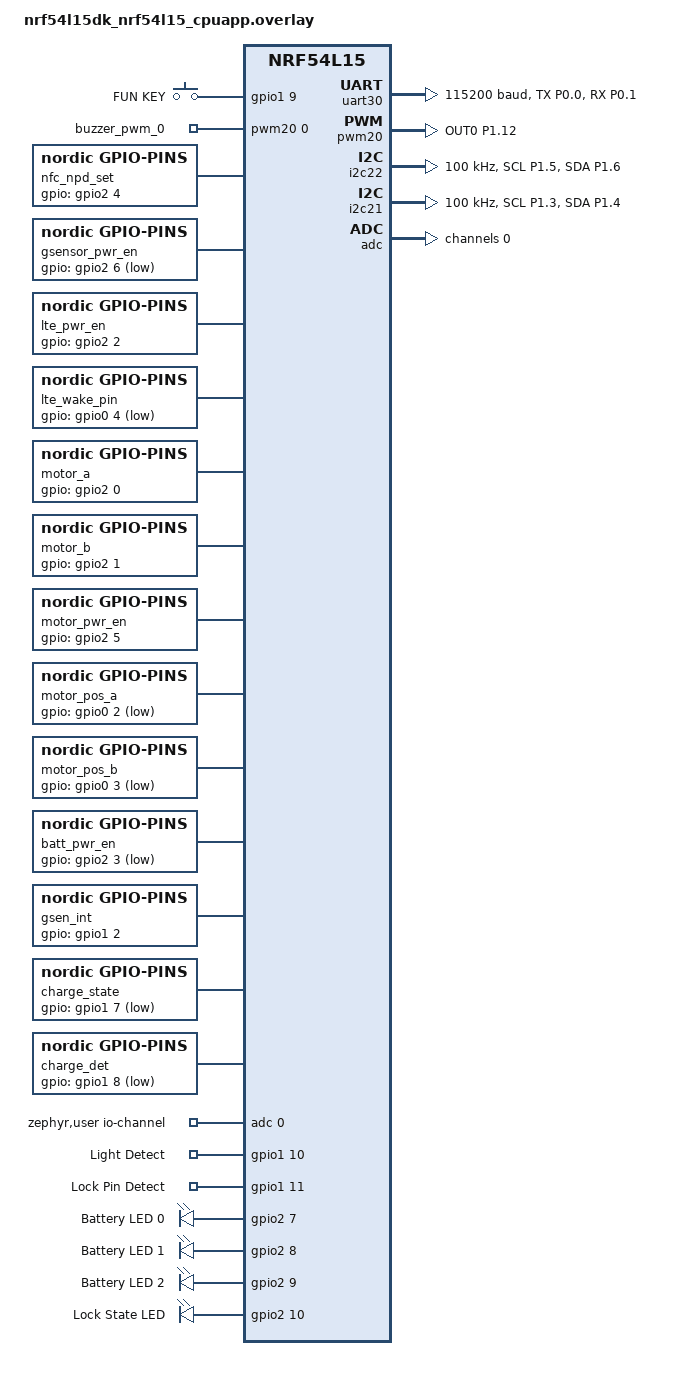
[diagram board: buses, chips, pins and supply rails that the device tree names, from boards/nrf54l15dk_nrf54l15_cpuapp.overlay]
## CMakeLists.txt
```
#
# Copyright (c) 2018 Nordic Semiconductor
#
# SPDX-License-Identifier: LicenseRef-Nordic-5-Clause
#
cmake_minimum_required(VERSION 3.20.0)

find_package(Zephyr REQUIRED HINTS $ENV{ZEPHYR_BASE})
project(LL311_BLE)

target_include_directories(app PRIVATE
 ./inc
 ./src
 ./ext_module/nfc/api
 ./ext_module/nfc/drivers/FM175XX/inc
)

# NORDIC SDK APP START
target_sources(app PRIVATE
  src/main.c
  src/my_ring_buf.c
  src/my_shell.c
  src/my_ble_core.c
  src/my_lte.c
  src/my_gsensor.c
  src/my_gsensor_algorithm.c
  src/my_nfc.c
  src/my_ctrl.c
  src/my_motor.c
  src/my_battery.c
#  src/my_wdt.c
  src/my_tool.c
  src/my_cmd_setting.c
  src/my_zms_param.c
  ext_module/nfc/api/nfc_api.c
  ext_module/nfc/drivers/FM175XX/src/fm175xx_driver.c
  ext_module/nfc/drivers/FM175XX/src/nfc_reader_api.c
  ext_module/nfc/drivers/FM175XX/src/nfc_mifare.c
  ext_module/nfc/drivers/FM175XX/src/nfc_ntag.c
  src/my_ble_app.c
  src/my_ble_log.c
  src/my_dfu_jimi.c
  src/my_pm.c
  src/my_ble_scan.c
)

# NORDIC SDK APP END
```

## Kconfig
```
#
# Copyright (c) 2018 Nordic Semiconductor
#
# SPDX-License-Identifier: LicenseRef-Nordic-5-Clause
#

source "Kconfig.zephyr"

menu "Nordic UART BLE GATT service sample"

config USE_STDC_LSM6DSV16X
	bool "LSM6DSV16X STdC driver"
	default y
	select HAS_STMEMSC

config BT_NUS_THREAD_STACK_SIZE
	int "Thread stack size"
	default 1024
	help
	  Stack size used in each of the two threads

config BT_NUS_UART_BUFFER_SIZE
	int "UART payload buffer element size"
	default 40
	help
	  Size of the payload buffer in each RX and TX FIFO element

config BT_NUS_SECURITY_ENABLED
	bool "Security"
	default y
	select BT_SMP
	help
	  Enable Bluetooth LE security for the UART service

config BT_NUS_UART_RX_WAIT_TIME
	int "Timeout for UART RX complete event"
	default 50000
	help
	  Wait for RX complete event time in microseconds

config SETTINGS
	default y

config ZMS
	default y if (SOC_FLASH_NRF_RRAM || SOC_FLASH_NRF_MRAM)

config NVS
	default y if !(SOC_FLASH_NRF_RRAM || SOC_FLASH_NRF_MRAM)

endmenu
```

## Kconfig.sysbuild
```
#
# Copyright (c) 2023 Nordic Semiconductor
#
# SPDX-License-Identifier: LicenseRef-Nordic-5-Clause
#

source "share/sysbuild/Kconfig"

config NRF_DEFAULT_IPC_RADIO
	default y

config NETCORE_IPC_RADIO_BT_HCI_IPC
	default y
```

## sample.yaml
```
sample:
  description: Bluetooth Low Energy UART service sample
  name: Bluetooth LE UART service
tests:
  sample.bluetooth.peripheral_uart:
    sysbuild: true
    platform_allow:
      - nrf52dk/nrf52832
      - nrf52833dk/nrf52833
      - nrf52840dk/nrf52840
      - nrf5340dk/nrf5340/cpuapp
      - nrf5340dk/nrf5340/cpuapp/ns
      - thingy53/nrf5340/cpuapp
      - nrf21540dk/nrf52840
      - nrf54l15dk/nrf54l05/cpuapp
      - nrf54l15dk/nrf54l10/cpuapp
      - nrf54l15dk/nrf54l15/cpuapp
      - nrf54lm20dk/nrf54lm20a/cpuapp
      - nrf54lv10dk/nrf54lv10a/cpuapp
      - nrf54lv10dk/nrf54lv10a/cpuapp/ns
      - nrf54h20dk/nrf54h20/cpuapp
      - nrf54h20dk/nrf54h20/cpurad
    integration_platforms:
      - nrf52dk/nrf52832
      - nrf52833dk/nrf52833
      - nrf52840dk/nrf52840
      - nrf5340dk/nrf5340/cpuapp
      - nrf5340dk/nrf5340/cpuapp/ns
      - thingy53/nrf5340/cpuapp
      - nrf21540dk/nrf52840
      - nrf54l15dk/nrf54l05/cpuapp
      - nrf54l15dk/nrf54l10/cpuapp
      - nrf54l15dk/nrf54l15/cpuapp
      - nrf54lm20dk/nrf54lm20a/cpuapp
      - nrf54lv10dk/nrf54lv10a/cpuapp
      - nrf54h20dk/nrf54h20/cpuapp
      - nrf54h20dk/nrf54h20/cpurad
    tags:
      - bluetooth
      - ci_build
      - sysbuild
    harness: console
    harness_config:
      type: multi_line
      ordered: true
      regex:
        - "Starting Nordic UART service sample"
    timeout: 15
  sample.bluetooth.peripheral_uart_cdc:
    sysbuild: true
    build_only: true
    extra_args:
      - OVERLAY_CONFIG=prj_cdc.conf
      - DTC_OVERLAY_FILE="usb.overlay"
    integration_platforms:
      - nrf52840dk/nrf52840
      - nrf52833dk/nrf52833
    platform_allow:
      - nrf52840dk/nrf52840
      - nrf52833dk/nrf52833
    tags:
      - bluetooth
      - ci_build
      - sysbuild
  sample.bluetooth.peripheral_uart_minimal:
    sysbuild: true
    build_only: true
    extra_args: FILE_SUFFIX=minimal
    integration_platforms:
      - nrf52833dk/nrf52820
    platform_allow:
      - nrf52833dk/nrf52820
    tags:
      - bluetooth
      - ci_build
      - sysbuild
  sample.bluetooth.peripheral_uart_ble_rpc:
    sysbuild: true
    build_only: true
    extra_args:
      - SNIPPET=nordic-bt-rpc
      - FILE_SUFFIX=bt_rpc
    integration_platforms:
      - nrf5340dk/nrf5340/cpuapp
      - nrf54h20dk/nrf54h20/cpuapp
    platform_allow:
      - nrf5340dk/nrf5340/cpuapp
      - nrf54h20dk/nrf54h20/cpuapp
    tags:
      - bluetooth
      - ci_build
      - sysbuild
  sample.bluetooth.peripheral_uart.security_disabled:
    sysbuild: true
    build_only: true
    platform_allow:
      - nrf52dk/nrf52832
      - nrf52833dk/nrf52833
      - nrf52840dk/nrf52840
      - nrf5340dk/nrf5340/cpuapp
      - nrf5340dk/nrf5340/cpuapp/ns
      - thingy53/nrf5340/cpuapp
      - thingy53/nrf5340/cpuapp/ns
      - nrf21540dk/nrf52840
    integration_platforms:
      - nrf52840dk/nrf52840
    tags:
      - bluetooth
      - ci_build
      - sysbuild
    extra_configs:
      - CONFIG_BT_NUS_SECURITY_ENABLED=n
```

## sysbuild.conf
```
#
# Copyright (c) 2021 Nordic Semiconductor ASA
#
# SPDX-License-Identifier: LicenseRef-Nordic-5-Clause
#

# Enable MCUboot as bootloader (recommended way)
SB_CONFIG_BOOTLOADER_MCUBOOT=y
```

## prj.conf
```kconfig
#
# Copyright (c) 2018 Nordic Semiconductor
#
# SPDX-License-Identifier: LicenseRef-Nordic-5-Clause
#

# Enable the UART driver
CONFIG_UART_ASYNC_API=y
CONFIG_NRFX_UARTE=y
CONFIG_SERIAL=y

# Enable the GPIO driver
CONFIG_GPIO=y

# Enable I2C driver
CONFIG_I2C=y

# Enable PWM driver
CONFIG_PWM=y

# Make sure printk is printing to the RTT console
CONFIG_CONSOLE=y
CONFIG_UART_CONSOLE=n
CONFIG_RTT_CONSOLE=y

# Enable Shell
CONFIG_SHELL=y
CONFIG_SHELL_BACKEND_RTT=y
CONFIG_SHELL_BACKEND_SERIAL=n
CONFIG_SHELL_VT100_COMMANDS=y
CONFIG_SHELL_HISTORY=y

# Increase RTT buffer size to prevent message drops
CONFIG_SEGGER_RTT_BUFFER_SIZE_UP=4096
CONFIG_LOG_BUFFER_SIZE=4096

# Heap and stacks
CONFIG_HEAP_MEM_POOL_SIZE=16384
CONFIG_MAIN_STACK_SIZE=2048
CONFIG_SYSTEM_WORKQUEUE_STACK_SIZE=2048

# Bluetooth RX workqueue stack size (default 1200 is insufficient for BLE log, increased to 2048)
CONFIG_BT_RX_STACK_SIZE=2048

# Enable Bluetooth
CONFIG_BT=y
CONFIG_BT_PERIPHERAL=y
CONFIG_BT_DEVICE_NAME="LL311"
CONFIG_BT_DEVICE_APPEARANCE=512
CONFIG_BT_MAX_CONN=2
CONFIG_BT_MAX_PAIRED=1

# Enable Bluetooth Observer role for TAG scanning
CONFIG_BT_OBSERVER=y
CONFIG_BT_SCAN=y

# Enable extended advertising for multiple advertising sets
CONFIG_BT_EXT_ADV=y
CONFIG_BT_EXT_ADV_MAX_ADV_SET=3

CONFIG_BT_CTLR_TX_PWR_DYNAMIC_CONTROL=y

# Enable the Device Information Service
# CONFIG_BT_DIS=y
# CONFIG_BT_DIS_MANUF_NAME=y
# CONFIG_BT_DIS_MANUF_NAME_STR="Nordic Semiconductor ASA"
# CONFIG_BT_DIS_PNP=y
# CONFIG_BT_DIS_PNP_VID_SRC=2
# CONFIG_BT_DIS_PNP_VID=0x1915
# CONFIG_BT_DIS_PNP_PID=0xEEF1
# CONFIG_BT_DIS_PNP_VER=0x0100

# Disable NUS service
CONFIG_BT_NUS=n
# CONFIG_BT_NUS_THREAD_STACK_SIZE is no longer needed

# Enable bonding
CONFIG_BT_SETTINGS=y
CONFIG_FLASH=y
CONFIG_FLASH_PAGE_LAYOUT=y
CONFIG_FLASH_MAP=y
CONFIG_STREAM_FLASH=y
CONFIG_PARTITION_MANAGER_ENABLED=y

# Enable DK LED and Buttons library
CONFIG_DK_LIBRARY=n

# Disable SPI NOR Flash
CONFIG_SPI_NOR=n
CONFIG_NORDIC_QSPI_NOR=n

# Enable Power Management
CONFIG_PM=y
CONFIG_PM_DEVICE=y
CONFIG_PM_DEVICE_RUNTIME=y

# Disable unused RAM blocks to reduce standby current
CONFIG_RAM_POWER_DOWN_LIBRARY=y

# Config logger
CONFIG_LOG=y
CONFIG_LOG_DEFAULT_LEVEL=3
CONFIG_USE_SEGGER_RTT=y
CONFIG_LOG_BACKEND_RTT=n
CONFIG_LOG_BACKEND_UART=n
CONFIG_LOG_PRINTK=n
CONFIG_LOG_CUSTOM_FORMAT_SUPPORT=y
CONFIG_LOG_OUTPUT_FORMAT_CUSTOM_TIMESTAMP=y
CONFIG_LOG_BACKEND_FORMAT_TIMESTAMP=y


# Enable assertions
CONFIG_ASSERT=y

# Enable power management
CONFIG_PM=y
CONFIG_PM_DEVICE=y

# Enable Watchdog
# CONFIG_WATCHDOG=y

# Enable reboot
CONFIG_REBOOT=y

# Enable ADC
CONFIG_ADC=y
CONFIG_ADC_NRFX_SAADC=y

# ST MEMSC HAL
CONFIG_USE_STDC_LSM6DSV16X=y

# Enable poweroff
CONFIG_POWEROFF=y

# nRF Security + PSA Crypto
CONFIG_NRF_SECURITY=y

# AES ECB
CONFIG_PSA_WANT_KEY_TYPE_AES=y
CONFIG_PSA_WANT_ALG_ECB_NO_PADDING=y

# Enable MCUManager and BT OTA DFU
CONFIG_NCS_SAMPLE_MCUMGR_BT_OTA_DFU=y

# Enable Bluetooth OTA DFU support, no authentication required
CONFIG_MCUMGR_TRANSPORT_BT_PERM_RW=y

# MCUmgr notification hooks for OTA status monitoring
CONFIG_MCUMGR_MGMT_NOTIFICATION_HOOKS=y
CONFIG_MCUMGR_SMP_COMMAND_STATUS_HOOKS=y
CONFIG_MCUMGR_GRP_IMG_UPLOAD_CHECK_HOOK=y

# Enable Bluetooth SMP (Security Manager Protocol)
CONFIG_BT_SMP=y

# Enable Secure Connections pairing (for Passkey Entry)
CONFIG_BT_SMP_SC_PAIR_ONLY=n

# Enable larger ACL buffers for DFU (MTU 498 + 4 bytes L2CAP header)
# Supports dual-PDU mode: max data length = 251 * 2 = 502
CONFIG_BT_L2CAP_TX_MTU=498
CONFIG_BT_BUF_ACL_RX_SIZE=502
CONFIG_BT_BUF_ACL_TX_SIZE=502
CONFIG_BT_CTLR_DATA_LENGTH_MAX=251

CONFIG_CBPRINTF_FP_SUPPORT=y
```

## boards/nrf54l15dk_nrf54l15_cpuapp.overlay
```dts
/*
 * Copyright (c) 2024 Nordic Semiconductor ASA
 *
 * SPDX-License-Identifier: LicenseRef-Nordic-5-Clause
 */

#include <zephyr/dt-bindings/gpio/gpio.h>
#include <zephyr/dt-bindings/i2c/i2c.h>
#include <zephyr/dt-bindings/pinctrl/nrf-pinctrl.h>

/ {
	chosen {
	};

	/* 定义别名，方便代码调用 */
	aliases {
		/* 删除板级alias别名 */
		/delete-property/ led0;
		/delete-property/ led1;
		/delete-property/ led2;
		/delete-property/ led3;
		/delete-property/ pwm-led0;
		/delete-property/ sw0;
		/delete-property/ sw1;
		/delete-property/ sw2;
		/delete-property/ sw3;
		/delete-property/ mcuboot-button0;
		/delete-property/ mcuboot-led0;
		lte-uart = &uart30;
		lte-pwr-ctrl = &lte_pwr_en;
		lte-wake-ctrl = &lte_wake_pin;
		gsensor-i2c = &i2c21;
		gsensor-pwr-ctrl = &gsensor_pwr_en;
		nfc-i2c = &i2c22;
		nfc-npd-ctrl = &nfc_npd_set;
		buzzer-pwm = &buzzer_pwm_0;
		fun-key = &fun_key_pin;
		motor-ctrl-a = &motor_a;
		motor-ctrl-b = &motor_b;
		motor-pwr-ctrl = &motor_pwr_en;
		motor-posdet-a = &motor_pos_a;
		motor-posdet-b = &motor_pos_b;
		batt-pwr-ctrl = &batt_pwr_en;
		gsensor-int = &gsen_int;
		batt-state = &charge_state;
		charge-detect = &charge_det;
		light-detect = &light_det_pin;
		lock-pin-det = &lock_pin_det_pin;
		battery-led0 = &batt_led0;
		battery-led1 = &batt_led1;
		battery-led2 = &batt_led2;
		lock-led0  = &lock_led;
	};
	/* 删除板级节点 */
	/delete-node/ leds;
	/delete-node/ buttons;
	/delete-node/ pwmleds;

	/* 定义按键 - 使用 gpio-keys 兼容类型 */
	button_fun: button_fun {
		compatible = "gpio-keys";
		fun_key_pin: fun_key_pin {
			gpios = <&gpio1 9 (GPIO_PULL_DOWN | GPIO_ACTIVE_HIGH)>;
			label = "FUN KEY";
		};
	};

	/* 定义蜂鸣器 PWM 节点 */
	buzzer_node {
		compatible = "pwm-leds";
		buzzer_pwm_0: buzzer_pwm_0 {
			/* 蜂鸣器设置2.7KHz */
			pwms = <&pwm20 0 PWM_HZ(2700) PWM_POLARITY_NORMAL>;
		};
	};

	/* NFC NPD 低功耗控制引脚配置:P2.04 */
	nfc_npd_set: nfc-npd-set {
		compatible = "nordic,gpio-pins";
		gpios = <&gpio2 4 GPIO_ACTIVE_HIGH>;
		status = "okay";
	};

	/* G-Sensor 电源控制引脚配置,低电平有效,适配硬件设计 */
	gsensor_pwr_en: gsensor-pwr-en {
		compatible = "nordic,gpio-pins";
		gpios = <&gpio2 6 GPIO_ACTIVE_LOW>;
		status = "okay";
	};

	/* LTE 电源控制引脚配置 */
	lte_pwr_en: lte-pwr-en {
		compatible = "nordic,gpio-pins";
		gpios = <&gpio2 2 GPIO_ACTIVE_HIGH>;
		status = "okay";
	};

	/* LTE 唤醒引脚配置：P0.04，外部上拉，4G拉低唤醒Nordic */
	lte_wake_pin: lte-wake-pin {
		compatible = "nordic,gpio-pins";
		gpios = <&gpio0 4 GPIO_ACTIVE_LOW>;
		status = "okay";
	};

	/* P2.0: 马达方向 A */
	motor_a: motor-a {
		compatible = "nordic,gpio-pins";
		gpios = <&gpio2 0 GPIO_ACTIVE_HIGH>;
		status = "okay";
	};

	/* P2.1: 马达方向 B */
	motor_b: motor-b {
		compatible = "nordic,gpio-pins";
		gpios = <&gpio2 1 GPIO_ACTIVE_HIGH>;
		status = "okay";
	};

	/* P2.5: 马达电源开关，高电平上电 */
	 motor_pwr_en: motor-pwr-en {
		compatible = "nordic,gpio-pins";
		gpios = <&gpio2 5 GPIO_ACTIVE_HIGH>;
		status = "okay";
	};

	/* P0.2: 位置检测 A，外部上拉 */
	motor_pos_a: motor-pos-a {
		compatible = "nordic,gpio-pins";
		gpios = <&gpio0 2 (GPIO_ACTIVE_LOW)>;
		status = "okay";
	};

	/* P0.3: 位置检测 B，外部上拉 */
	motor_pos_b: motor-pos-b {
		compatible = "nordic,gpio-pins";
		gpios = <&gpio0 3 (GPIO_ACTIVE_LOW)>;
		status = "okay";
	};

	/* P2.3: 电池使能，低电平使能 */
	batt_pwr_en: batt-pwr-en {
		compatible = "nordic,gpio-pins";
		gpios = <&gpio2 3 GPIO_ACTIVE_LOW>;
		status = "okay";
	};

	/* gsensor中断，默认下拉 */
	gsen_int: gsen-int {
		compatible = "nordic,gpio-pins";
		gpios = <&gpio1 2 (GPIO_PULL_DOWN | GPIO_ACTIVE_HIGH)>;
		status = "okay";
	};

	/* P1.7:电池状态监测； 充电中:低电平; 充满:高电平 */
	charge_state: charge-state {
		compatible = "nordic,gpio-pins";
		gpios = <&gpio1 7 (GPIO_PULL_UP | GPIO_ACTIVE_LOW)>;
		status = "okay";
	};

	/* P1.8: 是否在充电的检测,外部上拉 */
	charge_det: charge-det {
		compatible = "nordic,gpio-pins";
		gpios = <&gpio1 8 (GPIO_ACTIVE_LOW)>;
		status = "okay";
	};

	/* 把要用的 ADC 通道挂到 zephyr,user，方便 C 代码用 ADC_DT_SPEC_GET(DT_PATH(zephyr_user)) */
	zephyr,user {
		/* 通道 0：电池电压（P1.13 / AIN6）*/
		io-channels = <&adc 0>;
	};

	/* 光感检测：P1.10，外部1M下拉，有光高电平，无光低电平 */
	light_det: light-det {
		compatible = "gpio-keys";
		light_det_pin: light_det_pin {
			gpios = <&gpio1 10 GPIO_ACTIVE_HIGH>;
			label = "Light Detect";
		};
	};

	/* 锁销检测：P1.11，外部1M下拉，锁销断开时低电平，插入后接3.3V变为高电平 */
	lock_pin_det: lock-pin-det {
		compatible = "gpio-keys";
		lock_pin_det_pin: lock_pin_det_pin {
			gpios = <&gpio1 11 GPIO_ACTIVE_HIGH>;
			label = "Lock Pin Detect";
		};
	};

	/* 电量指示灯组：P2.7 / P2.8 / P2.9 */
	batt_leds: batt-leds {
		compatible = "gpio-leds";

		batt_led0: batt_led_0 {
			gpios = <&gpio2 7 GPIO_ACTIVE_HIGH>;
			label = "Battery LED 0";  /* 最低电量格 */
		};

		batt_led1: batt_led_1 {
			gpios = <&gpio2 8 GPIO_ACTIVE_HIGH>;
			label = "Battery LED 1";
		};

		batt_led2: batt_led_2 {
			gpios = <&gpio2 9 GPIO_ACTIVE_HIGH>;
			label = "Battery LED 2";  /* 最高电量格 */
		};
	};

	/* 锁状态指示灯：P2.10 */
	lock_leds: lock-leds {
		compatible = "gpio-leds";

		lock_led: lock-led {
			gpios = <&gpio2 10 GPIO_ACTIVE_HIGH>;
			label = "Lock State LED";
		};
	};
};

/* 配置 NFC 使用的引脚做为IO口 */
&uicr {
	nfct-pins-as-gpios;
};

&uart20 {
	status = "disabled";
};

/* 配置 LTE 模块使用的串口引脚 P2.00, P2.01 */
&pinctrl {
	i2c21_default: i2c21_default {
		group1 {
			psels = <NRF_PSEL(TWIM_SCL, 1, 3)>,
				<NRF_PSEL(TWIM_SDA, 1, 4)>;
		};
	};

	i2c21_sleep: i2c21_sleep {
		group1 {
			psels = <NRF_PSEL(TWIM_SCL, 1, 3)>,
				<NRF_PSEL(TWIM_SDA, 1, 4)>;
			low-power-enable;
		};
	};

	i2c22_default: i2c22_default {
		group1 {
			psels = <NRF_PSEL(TWIM_SCL, 1, 5)>,
				<NRF_PSEL(TWIM_SDA, 1, 6)>;
		};
	};

	i2c22_sleep: i2c22_sleep {
		group1 {
			psels = <NRF_PSEL(TWIM_SCL, 1, 5)>,
				<NRF_PSEL(TWIM_SDA, 1, 6)>;
			low-power-enable;
		};
	};

	lte_uart30_default: lte_uart30_default {
		group1 {
			/* TX 为输出，无需偏置 */
			psels = <NRF_PSEL(UART_TX, 0, 0)>;
		};
		group2 {
			/* RX 为输入，default 状态配置上拉 */
			psels = <NRF_PSEL(UART_RX, 0, 1)>;
			bias-pull-up;
		};
	};

	lte_uart30_sleep: lte_uart30_sleep {
		group1 {
			/* sleep 状态配置低功耗模式(高阻态) */
			psels = <NRF_PSEL(UART_TX, 0, 0)>,
					<NRF_PSEL(UART_RX, 0, 1)>;
			low-power-enable;
		};
	};

	pwm20_default: pwm20_default {
		group1 {
			psels = <NRF_PSEL(PWM_OUT0, 1, 12)>;
			nordic,drive-mode = <NRF_DRIVE_H0H1>;
		};
	};

	pwm20_sleep: pwm20_sleep {
		group1 {
			psels = <NRF_PSEL(PWM_OUT0, 1, 12)>;
			low-power-enable;
		};
	};
};

/* 开启并配置 UART30 */
&uart30 {
	status = "okay";
	current-speed = <115200>;
	pinctrl-0 = <&lte_uart30_default>;
	pinctrl-1 = <&lte_uart30_sleep>;
	pinctrl-names = "default", "sleep";
};

/* 开启并配置 PWM 用于蜂鸣器 */
&pwm20 {
	status = "okay";
	pinctrl-0 = <&pwm20_default>;
	pinctrl-1 = <&pwm20_sleep>;
	pinctrl-names = "default", "sleep";
};

/* 开启并配置 I2C22 用于 NFC */
&i2c22 {
	status = "okay";
	pinctrl-0 = <&i2c22_default>;
	pinctrl-1 = <&i2c22_sleep>;
	pinctrl-names = "default", "sleep";
	clock-frequency = <I2C_BITRATE_STANDARD>;
};


&i2c21 {
	status = "okay";
	pinctrl-0 = <&i2c21_default>;
	pinctrl-1 = <&i2c21_sleep>;
	pinctrl-names = "default", "sleep";
	clock-frequency = <I2C_BITRATE_STANDARD>;
};

/* ADC 配置：通道 0 = AIN6(P1.13)，通道 1 = AIN7(P1.14) */
&adc {
	#address-cells = <1>;
	#size-cells = <0>;
	status = "okay";

	/* 通道 0：电池电压采集，AIN6 = P1.13 */
	channel@0 {
		reg = <0>;
		zephyr,gain = "ADC_GAIN_1_4";          /* nRF54L15 推荐 1/4 增益 */
		zephyr,reference = "ADC_REF_INTERNAL"; /* 内部参考 */
		zephyr,acquisition-time = <ADC_ACQ_TIME_DEFAULT>;
		zephyr,input-positive = <NRF_SAADC_AIN6>;  /* AIN6 = P1.13 */
		zephyr,resolution = <14>;                  /* nRF54L15 为 14 bit */
	};
};

/* disable spi nor flash */
&spi00 {
	status = "disabled";
};

/* Disable MX25R64 SPI NOR Flash */
&mx25r64 {
    status = "disabled";
};

/* 用于P0.4唤醒 */
&gpio0 {
	// wakeup-source;
	sense-edge-mask = <(BIT(4) | BIT(2) | BIT(3))>;  /* P0.4、P0.2 和 P0.3 */
};

/* 新增：为 gpio1 启用 sense 机制，降低功耗 */
&gpio1 {
	status = "okay";
	sense-edge-mask = <(BIT(2) | BIT(7) | BIT(8) | BIT(9) | BIT(10) | BIT(11))>;  /* P1.2、P1.7 和 P1.8 */
};

/*
&wdt31 {
	status = "okay";
};
*/
```

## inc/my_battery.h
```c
/********************************************************************
**版权所有         深圳市几米物联有限公司
**文件名称:        my_battery.h
**文件描述:        电池管理模块实现头文件
**当前版本:        V1.0
**作    者:        周森达 (zhousenda@jimiiot.com)
**完成日期:        2026.02.04
*********************************************************************/

#ifndef _MY_BATTERY_H_
#define _MY_BATTERY_H_

// 电池状态枚举, 定义了电池的不同状态等级，从空到满
typedef enum
{
    BATT_UNKNOWN = -1,  /* 电池状态未知状态 */
    BATT_EMPTY,         /* 电池电量为空 */
    BATT_LOW,           /* 电池电量低 */
    BATT_NORMAL,        /* 电池电量正常 */
    BATT_FAIR,          /* 电池电量良好 */
    BATT_HIGH,          /* 电池电量高 */
    BATT_FULL,          /* 电池电量满 */
} my_batt_state_t;

// 正常状态 LED 控制结构体, 用于控制电池状态 LED 显示的结构体
typedef struct
{
    struct k_timer *timer;       /* 定时器指针，用于控制 LED 显示的定时 */
    my_batt_state_t state;            /* 当前电池状态，使用枚举类型 */
    uint8_t time_count;          /* 时间计数器，用于控制 LED 闪烁和显示持续时间, 按键按下, LED 执行5s, 定时器设置为100ms , 50次*/
} batt_led_ctrl_t;

// 电源状态枚举, 定义了设备的电源连接状态
typedef enum
{
    CHARG_UNKNOWN = -1,     /* 充电状态未知状态 */
    NO_CHARGING,            /* 充电器未连接 */
    CHARGING,               /* 充电器已连接（充电中） */
    CHARG_FULL,             /* 充电器已连接且电池已充满 */
} my_chg_state_t;

typedef enum
{
    CHG_BATT_LOW,    /* 充电状态电池电量低 */
    CHG_BATT_FAIR,   /* 充电状态电池电量良好 */
    CHG_BATT_HIGH,   /* 充电状态电池电量高 */
    CHG_BATT_FULL,   /* 充电状态电池电量满，电池已充满 */
} my_chg_batt_state_t;

// 充电状态 LED 控制结构体, 用于控制电池状态 LED 显示的结构体
typedef struct
{
    struct k_timer *timer;       /* 定时器指针，用于控制 LED 显示的定时 */
    my_chg_batt_state_t state;            /* 当前电池状态，使用枚举类型 */
    uint16_t time_count;          /* 时间计数器，用于控制 LED 闪烁和显示持续时间以及固定时间(10s)检测更新充电状态,定时器500ms循环*/
} chg_led_ctrl_t;

//电池电压-电量映射结构体,用于存储电池电压值与对应电量百分比的映射关系,用于通过电池电压计算电量百分比.
typedef struct
{
    int32_t mv;       /**< 电池电压值，单位为毫伏 (mV) */
    int8_t percent;   /**< 对应的电池电量百分比，范围为 0-100 */
} batt_volt_percent_map_t;

// 正常状态LED控制结构体，包含定时器、电池状态和计数器
extern batt_led_ctrl_t g_batt_led_ctrl;

// 充电状态LED控制结构体，包含定时器、充电电池状态和计数器
extern chg_led_ctrl_t g_chg_led_ctrl;

// 电源状态，初始值为未连接
extern my_chg_state_t g_charg_state;

int batt_read_mv(int32_t *mv);
int ntc_read_raw(int16_t *raw);
int batt_adc_init(void);
void batt_enable(bool on);
int batt_gpio_init(void);

/*********************************************************************
**函数名称:  show_battary
**入口参数:  无
**出口参数:  无
**函数功能:  显示电池状态
**返 回 值:  无
*********************************************************************/
void my_battery_show(void);

/*********************************************************************
**函数名称:  my_battery_update_state
**入口参数:  无
**出口参数:  无
**函数功能:  检查并更新电池状态
*********************************************************************/
void my_battery_update_state(void);

/*********************************************************************
**函数名称:  my_battery_show_chgled
**入口参数:  无
**出口参数:  无
**函数功能:  检查充电检测引脚的状态，根据检测结果更新充电状态并控制LED显示。
** 如果检测到充电，则启动充电LED控制定时器；如果未检测到充电，则关闭所有电池LED。
*********************************************************************/
void my_battery_show_chgled();

/*********************************************************************
**函数名称:  my_battery_read_mv
**入口参数:  *mv  --  指向存储电池电压值的指针，单位为毫伏
**出口参数:  err  --  错误码，0 表示成功，非 0 表示失败
**函数功能:  读取电池电压值（毫伏）,函数采用多次采样并去除极值的方法提高测量准确性,
**           最终结果会乘以 2，是因为硬件电路中的分压系数
*********************************************************************/
int my_battery_read_mv(int32_t *mv);

/*********************************************************************
**函数名称:  my_battery_pm_register
**入口参数:  无
**出口参数:  无
**函数功能:  将 Battery 模块注册到统一 PM 框架
**返 回 值:  0 表示成功，负值表示失败
*********************************************************************/
int my_battery_pm_register(void);

/*********************************************************************
**函数名称:  get_show_percent
**入口参数:  无
**出口参数:  电池电量百分比
**函数功能:  获取当前电池电量百分比
*********************************************************************/
int8_t get_show_percent(void);

#endif
```

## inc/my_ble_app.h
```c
/********************************************************************
**版权所有         深圳市几米物联有限公司
**文件名称:        my_ble_app.h
**文件描述:        设备蓝牙交互模块实现头文件
**当前版本:        V1.0
**作    者:        周森达 (zhousenda@jimiiot.com)
**完成日期:        2026-03-05
*********************************************************************
** 功能描述:        1. 提供交互协议相关宏定义
**                 2. 为外部提供数据接收和解析相关接口
** 协议文档:        Jimi Iot 蓝牙通信协议V3.1.6_2026-3-5
** OTA 效率优化:    为提升 OTA 传输效率，采用双 PDU 模式，MTU 扩大至 498 字节
**                 （默认 MTU 247 仅支持单 PDU，498 支持双 PDU，理论吞吐提升约 2 倍）
** 配置位置:        prj.conf 中 CONFIG_BT_L2CAP_TX_MTU=498 和 CONFIG_BT_BUF_ACL_RX_SIZE=502
*********************************************************************/
#ifndef _MY_BLE_APP_H_
#define _MY_BLE_APP_H_

// 交互协议相关宏定义
#define BLE_DATA_FRAME_LEN_MAX                  16

#define BLE_DATA_PACKET_HEAD                    0X4254          //数据包头
#define BLE_DATA_TYPE_PKEY                      0x1101          //公钥数据
#define BLE_DATA_TYPE_CID                       0x2202          //串号数据
#define BLE_DATA_TYPE_MTU_LEN                   0x2203          //MTU交换数据
#define BLE_DATA_TYPE_HID_VALID                 0x2303          //HID有效期
#define BLE_DATA_TYPE_ALARM                     0x3303          //防盗器指令数据
#define BLE_DATA_TYPE_QUERY                     0x3304          //查询仪表数据及应答
#define BLE_DATA_TYPE_REPORT                    0x3305          //仪表数据上行汇报及应答
#define BLE_DATA_TYPE_CMD                       0x5505          //其它指令数据
#define BLE_DATA_TYPE_FILE_TRANS                0x4605          //DFU文件指令,参考Jimi Iot 蓝牙通信协议V3.1.6_2026-3-5 6.4 OTA文件传输
#define BLE_DATA_TYPE_QEURY_VER                 0x5601          //app下行查询版本号
#define BLE_DATA_TYPE_RSP_VER1                  0x5602          //设备类型
#define BLE_DATA_TYPE_RSP_VER2                  0x5603          //设备版本号

#define BLE_DATA_TYPE_SET_ADV                   0x5606          //设置广播名称
#define BLE_DATA_TYPE_SET_IMEI                  0x5707          //设置IMEI号
#define BLE_DATA_TYPE_AT_CMD                    0x5808          //用户指令

/* 单模块回复传输（0xFF 0x01 / 0xFF 0x02）
 * 用于大数据量返回，如NFCTRIG CHECK返回结果
 * 1. 可单包发送时走 FF01：payload 格式为 len(Varint, 0-512) + Module id(Varint,固定0x08) + Module len(Varint) + data
 *    APP 回复解密后 payload 固定为 0x00
 * 2. 需分包发送时走 FF02：payload 格式为 Len(Varint, 0-512) + Seq(1B) + [首包附带 Module id + Module len] + data
 *    APP 回复格式为 52 54 FF 02，解密后 payload 为 len(Varint) + 包序号
 */
#define BLE_DATA_TYPE_PACKET_SINGLE             0xFF01          //单包传输数据类型
#define BLE_DATA_TYPE_PACKET_MULTIPLE           0xFF02          //分包传输数据类型

#define BLE_PACKET_TRANS_MODULE_ID              0x08            //模块ID(RSP_ASCII)
#define BLE_PACKET_TRANS_SEQ_LAST               0xFF            //最后一包序号标记

/* 日志指令透传数据（LOG_DATA）
 * 指令格式：
 * +--------+--------+--------+--------+
 * |  字节  |   0~1  |   2~3  |  4~N   |
 * +--------+--------+--------+--------+
 * |  字段  |  head  |  cmd   |  data  |
 * +--------+--------+--------+--------+
 * |  值    | 0x4254 | 0x5901 |  日志  |
 * +--------+--------+--------+--------+
 * 说明：
 *   - head (2B): 帧头 0x4254 ("BT")
 *   - cmd  (2B): 指令类型 0x5901 (LOG_DATA)
 *   - data (NB): 透传日志内容，明文传输，无需16字节对齐，测试发现小于16字节的需要填充0，补足16字节
 *   - 长度计算: MTU - BLE_LOG_MTU_OVERHEAD
 *   - MTU开销: ATT头(3B) + head(2B) + cmd(2B) = 7B
 */
#define BLE_DATA_TYPE_BT_LOG                    0x5901          //日志指令透传数据（LOG_DATA）
/* 日志数据MTU开销：ATT头(3B) + head(2B) + cmd(2B) */
#define BLE_LOG_MTU_OVERHEAD                    7

/* 蓝牙日志单包最大内容长度
 * 原因：测试发现超过240字节会导致蓝牙自动断开
 * 注意：此限制与MTU无关，是协议栈稳定性要求
 */
#define BLE_LOG_MAX_CHUNK_SIZE                  240

#define BLE_DFU_HEAD1                           0x78            // DFU包头1
#define BLE_DFU_HEAD2                           0x79            // DFU包头2

#define BLE_COMU_DEV_CODE                       0xB3            // 设备码
#define BLE_COMU_APP_CODE                       0xC2            // 应用码
#define BLE_COMU_CMD_START                      0x89            // 命令码
#define BLE_COMU_ALARM_START                    0x78            // 告警码

#define BLE_PKEY_RX_CMD                         0x8900C200      // 公钥接收命令
#define BLE_PKEY_RSP_DATA1                      0x00            // 公钥接收响应数据1
#define BLE_PKEY_RSP_DATA3                      0x00

/* APP下行控制指令    */
#define BLE_APP_CMD_APP_LINK                    0x00
#define BLE_APP_CMD_PAIR_ALLOW                  0x02
#define BLE_APP_CMD_PAIR_ALIOS                  0x03            // IOS PAIR ALLOW
#define BLE_APP_CMD_HID_READ                    0x05
#define BLE_APP_CMD_HID_ONOFF                   0x06
#define BLE_APP_CMD_HID_GEAR                    0x08
#define BLE_APP_CMD_QUERY_SENSOR                0x09
#define BLE_APP_CMD_SETUP_SENSOR                0x0a
#define BLE_APP_CMD_QUERY_BUZZER                0x0b
#define BLE_APP_CMD_SETUP_BUZZER                0x0c
#define BLE_APP_CMD_QUERY_CTRLPWR               0x0d
#define BLE_APP_CMD_SETUP_CTRLPWR               0x0e
#define BLE_APP_CMD_QUERY_ALL                   0x0f
#define BLE_APP_CMD_FIND_CAR                    0x10
#define BLE_APP_CMD_USER_MODE                   0x12
#define BLE_APP_CMD_PAIR_MODE                   0x15
#define BLE_APP_CMD_PAIR_CODE                   0x16

/* 设备上行应答APP控制指令       */
#define BLE_RSP_CMD_APP_LINK                    0x00
#define BLE_RSP_CMD_CID                         0x01
#define BLE_RSP_CMD_PAIR_ALLOW                  0x03
#define BLE_RSP_CMD_PAIR_RESULT                 0x04
#define BLE_RSP_CMD_HID_ONOFF                   0x06
#define BLE_RSP_CMD_HID_GEAR                    0x08
#define BLE_RSP_CMD_SENSOR_PARAM                0x09
#define BLE_RSP_CMD_SENSOR_SETUP                0x0a
#define BLE_RSP_CMD_BUZZER_PARAM                0x0b
#define BLE_RSP_CMD_BUZZER_SETUP                0x0c
#define BLE_RSP_CMD_CTRLPWR_PARAM               0x0d
#define BLE_RSP_CMD_CTRLPWR_SETUP               0x0e
#define BLE_RSP_CMD_QUERY_ALL                   0x0f
#define BLE_RSP_CMD_FIND_CAR                    0x10
#define BLE_RSP_CMD_USER_MODE                   0x12
#define BLE_RSP_CMD_PAIR_MODE                   0x15
#define BLE_RSP_CMD_PAIR_CODE                   0x16

#define BLE_RSP_PARAM_SUCCESS                   0x00
#define BLE_RSP_PARAM_FAIL                      0x01

extern uint16_t g_ble_server_mtu;

#define BLE_SERVER_MAX_MTU CONFIG_BT_L2CAP_TX_MTU // MTU最大长度，系统用掉了3个字节,可用数据最大244字节
#define BLE_SERVER_MIN_MTU 23                     // MTU默认最小长度

#define BLE_SERVER_MAX_DATA_LEN    (g_ble_server_mtu - 3)
#define BLE_SVC_RX_MAX_LEN         (BLE_SERVER_MAX_MTU - 3)
#define BLE_SVC_TX_MAX_LEN         (BLE_SERVER_MAX_MTU - 3)

#define BLE_RESP_LENGTH_MAX         BLE_SVC_RX_MAX_LEN

#define BLE_FRAME_HEAD_LEN          2               // 蓝牙数据帧头长度2字节
#define BLE_CMD_HEAD_LEN            2               // 蓝牙命令头长度2字节
#define BLE_CMD_DATA_LEN_UNIT       16              // 蓝牙命令内容长度基数16字节，因为要加密，必须是16字节的倍数
#define BLE_GATT_FRAME_LEN_MIN      (BLE_FRAME_HEAD_LEN + BLE_CMD_HEAD_LEN + BLE_CMD_DATA_LEN_UNIT)

#define BLE_MTU_DATA_LEN            (512 + 16)  /* MTU 498 支持，最大解密后约 512 字节，对齐 16 字节 */

/*********************************************************************
**函数名称:  BLE_DataInputBuffer
**入口参数:  data        --  蓝牙接收的原始数据指针
**           len         --  蓝牙接收的原始数据长度
**出口参数:  无
**函数功能:  验证数据长度合法性后缓存数据，发送消息给蓝牙线程处理
**返 回 值:  无
*********************************************************************/
void BLE_DataInputBuffer(const uint8_t *data, uint16_t len);
/*********************************************************************
**函数名称:  ble_rx_proc_handle
**入口参数:  无
**出口参数:  无
**函数功能:  蓝牙接收消息处理函数，验证包头后分发处理数据包
**返 回 值:  无
*********************************************************************/
void ble_rx_proc_handle(void);

/*********************************************************************
**函数名称:  my_ble_dfu_send_response
**入口参数:  cmd   ---   命令码
**           data  ---   响应数据
**           len   ---   数据长度
**出口参数:  无
**函数功能:  发送 DFU 响应数据
**返 回 值:  无
*********************************************************************/
void my_ble_dfu_send_response(uint8_t cmd, uint8_t *data, uint16_t len);

/*********************************************************************
**函数名称:  ble_log_send
**入口参数:  data     ---        日志数据指针
**           len      ---        日志数据长度
**出口参数:  无
**函数功能:  发送蓝牙日志到APP，通过指令通道（0x5901）明文传输
**返 回 值:  无
*********************************************************************/
void ble_log_send(uint8_t *data, uint8_t len);

/*********************************************************************
**函数名称:  ble_log_init
**入口参数:  无
**出口参数:  无
**函数功能:  初始化蓝牙日志模块，包括互斥锁初始化
**返 回 值:  0 表示成功
*********************************************************************/
int ble_log_init(void);

/*********************************************************************
**函数名称:  ble_log_disconnect_cleanup
**入口参数:  无
**出口参数:  无
**函数功能:  蓝牙断开时设置断开标志，通知 ble_log_send 清理资源
**返 回 值:  无
*********************************************************************/
void ble_log_disconnect_cleanup(void);

/*********************************************************************
**函数名称:  ble_log_connect_init
**入口参数:  无
**出口参数:  无
**函数功能:  蓝牙连接建立时清除断开标志，允许日志发送
**返 回 值:  无
*********************************************************************/
void ble_log_connect_init(void);
/********************************************************************
**函数名称:  ble_comu_at_cmd_handle
**入口参数:  data          ---        AT命令数据输入指针
**         :  len           ---        数据长度
**出口参数:  无
**函数功能:  处理BLE接收的AT命令
**返回值:    无
**注意事项:  根据AT命令处理结果决定是否发送响应数据
*********************************************************************/
void ble_comu_at_cmd_handle(const uint8_t *data, uint16_t len);

/********************************************************************
**函数名称:  ble_packet_trans_send
**入口参数:  data          ---        待发送的实际数据指针
**         :  len           ---        待发送的实际数据长度
**出口参数:  无
**函数功能:  使用分包传输机制（0xFF 0x02）发送大数据到APP
**返回值:    无
**注意事项:  1.数据会被自动分包，每包等待APP确认后再发下一包
**           2.分包大小根据MTU自动计算
**           3.数据内容会被扩展到16字节倍数后加密发送
**           4.最后一包实际数据使用0xFF作为序号
*********************************************************************/
void ble_packet_trans_send(uint8_t *data, uint16_t len);

/*********************************************************************
**函数名称:  ble_packet_trans_init
**入口参数:  无
**出口参数:  无
**函数功能:  初始化BLE单包/分包回复超时与重发模块
**返 回 值:  无
*********************************************************************/
void ble_packet_trans_init(void);

/*********************************************************************
**函数名称:  ble_packet_trans_timeout_handler
**入口参数:  无
**出口参数:  无
**函数功能:  BLE 分包传输应答超时处理，在 BLE 线程上下文执行
**返 回 值:  无
*********************************************************************/
void ble_packet_trans_timeout_handler(void);

/*********************************************************************
**函数名称:  ble_packet_trans_disconnect_cleanup
**入口参数:  无
**出口参数:  无
**函数功能:  蓝牙断开时清理BLE单包/分包回复状态
**返 回 值:  无
*********************************************************************/
void ble_packet_trans_disconnect_cleanup(void);

/********************************************************************
**函数名称:  ble_comu_response_or_expansion_cmd
**入口参数:  type          ---        命令类型
**         :  str_data      ---        输入数据指针
**         :  len           ---        数据长度
**出口参数:  无
**函数功能:  发送BLE通信响应或扩展命令数据
**返回值:    无
**注意事项:  数据长度会被扩展到16字节的倍数进行发送
*********************************************************************/
void ble_comu_response_or_expansion_cmd(uint16_t type, uint8_t *str_data, uint8_t len);
#endif
```

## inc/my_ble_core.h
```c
/********************************************************************
**版权所有         深圳市几米物联有限公司
**文件名称:        my_ble_core.h
**文件描述:        蓝牙核心任务处理模块头文件
**当前版本:        V1.0
**作    者:        Harrison Wu (wuyujiao@jimiiot.com)
**完成日期:        2026.01.13
*********************************************************************
** 功能描述:        蓝牙核心任务处理模块接口
**                 1. 提供BLE核心初始化接口
**                 2. 提供BLE运行控制接口(启动/停止等)
**                 3. 定义BLE与UART透传之间的FIFO接口
**                 4. 为应用层提供BLE连接状态和数据通道抽象
*********************************************************************/

#ifndef _MY_BLE_CORE_H_
#define _MY_BLE_CORE_H_

typedef enum {
    APPLE_ADV_TYPE,
    GOOGLE_ADV_TYPE
} my_adv_t;

/*
 * BLE 核心初始化参数：
 * 目前暂无特定参数，预留结构体
 */
struct my_ble_core_init_param
{
    uint32_t reserved;
};

/********************************************************************
**函数名称:  my_ble_core_init
**入口参数:  param    ---        BLE 核心初始化参数结构体（包含 UART-BLE 透传 FIFO ）
**           tid      ---        指向线程 ID 变量的指针
**出口参数:  tid      ---        存储启动后的线程 ID
**函数功能:  保存 UART 与 BLE 透传 FIFO 句柄，初始化消息队列并启动 BLE 任务线程
**返 回 值:  0 表示成功，负值表示失败（如参数非法等）
*********************************************************************/
int my_ble_core_init(const struct my_ble_core_init_param *param, k_tid_t *tid);

/********************************************************************
**函数名称:  my_ble_core_start
**入口参数:  无
**出口参数:  无
**函数功能:  启动 BLE 协议栈、相关广播及 GATT 服务
**返 回 值:  0 表示成功，负值表示失败（如协议栈初始化失败等）
*********************************************************************/
int my_ble_core_start(void);

/********************************************************************
**函数名称:  set_adv_valid_status
**入口参数:  index    ---        广播类型索引（0:APPLE, 1:GOOGLE）
**           status   ---        广播状态（0:无效, 1:有效）
**出口参数:  无
**函数功能:  设置指定类型广播的有效状态
**返 回 值:  无
*********************************************************************/
void set_adv_valid_status(my_adv_t index, int status);

/********************************************************************
**函数名称:  bt_get_mac_addr
**入口参数:  无
**出口参数:  无
**函数功能:  获取设备蓝牙MAC地址
**返 回 值:  指向MAC地址缓冲区的指针（6字节）
*********************************************************************/
const uint8_t *bt_get_mac_addr(void);
/********************************************************************
**函数名称:  ble_server_send_notification
**入口参数:  data     ---        要发送的数据缓冲区指针
**           tx_len   ---        数据长度
**出口参数:  无
**函数功能:  BLE服务器发送通知函数，处理GATT通知数据发送
**返 回 值:  无
*********************************************************************/
void ble_server_send_notification(uint8_t *data, uint16_t tx_len);

/********************************************************************
**函数名称:  ble_is_connected
**入口参数:  无
**出口参数:  无
**函数功能:  检查BLE是否已连接
**返 回 值:  true=已连接，false=未连接
*********************************************************************/
bool ble_is_connected(void);

/********************************************************************
**函数名称:  ble_is_data_channel_ready
**入口参数:  无
**出口参数:  无
**函数功能:  检查BLE数据通道是否就绪（连接建立+CCC使能）
**返 回 值:  true=就绪，false=未就绪
**注意事项:  仅当数据通道就绪后才能发送日志，避免在连接初期发送导致崩溃
*********************************************************************/
bool ble_is_data_channel_ready(void);
/********************************************************************
**函数名称:  ble_set_tx_power
**入口参数:  tx_power ---        发射功率(dBm)，范围: -10 ~ +7(NRF54L15 QFN封装)
**出口参数:  无
**函数功能:  设置蓝牙发射功率
**返 回 值:  0表示成功，负值表示失败
*********************************************************************/
int ble_set_tx_power(int8_t tx_power);
/********************************************************************
**函数名称:  ble_set_tx_power_by_param
**入口参数:  无
**出口参数:  无
**函数功能:  根据ZMS存储的参数设置蓝牙发射功率
**返 回 值:  0表示成功，负值表示失败
*********************************************************************/
int ble_set_tx_power_by_param(void);

/********************************************************************
**函数名称:  my_no_con_start_adv
**入口参数:  tag_sw ---   广播控制开关：1-开启广播，0-关闭广播
**出口参数:  无
**函数功能:  同时控制苹果和谷歌两种类型的广播打开和关闭
**返 回 值:  无
*********************************************************************/
void my_no_con_start_adv(uint8_t tag_sw);

/********************************************************************
**函数名称:  my_ble_updata_adv_param
**入口参数:  ms_data --- 广播间隔时间，单位为毫秒(ms)
**出口参数:  无
**函数功能:  更新BLE非连接广播参数
**返 回 值:  无
*********************************************************************/
void my_ble_updata_adv_param(uint16_t ms_data);

#endif /* _MY_BLE_CORE_H_ */
```

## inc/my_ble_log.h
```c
/********************************************************************
**版权所有         深圳市几米物联有限公司
**文件名称:        my_ble_log.h
**文件描述:        蓝牙日志输出头文件
**当前版本:        V1.0
**作    者:        Harrison Wu (wuyujiao@jimiiot.com)
**完成日期:        2026.03.17
*********************************************************************
** 功能描述:        提供模块化分级蓝牙日志输出功能
**                 1. 支持按模块开关控制
**                 2. 支持按日志等级过滤
**                 3. 需要蓝牙连接且总开关开启才发送
** 注意事项:
**                 1. DUMP日志一般数据量大，不支持从蓝牙发送
**                 2. 蓝牙日志发送时要检查递归调用，避免栈溢出
**                 3. 蓝牙日志吞吐量有限，避免发送大量数据
*********************************************************************/

#ifndef _MY_BLE_LOG_H_
#define _MY_BLE_LOG_H_

/* 日志等级定义 (与Zephyr一致) */
#define BLE_LOG_LEVEL_NONE  0   /* 不输出 */
#define BLE_LOG_LEVEL_ERR   1   /* 错误 */
#define BLE_LOG_LEVEL_WRN   2   /* 警告 */
#define BLE_LOG_LEVEL_INF   3   /* 信息 */
#define BLE_LOG_LEVEL_DBG   4   /* 调试 */

/* 模块ID需在编译时指定，默认为OTHER */
#ifndef BLE_LOG_MODULE_ID
#define BLE_LOG_MODULE_ID   BLE_LOG_MOD_OTHER
#endif

/********************************************************************
**函数名称:  ble_log_output
**入口参数:  mod_id: 模块ID
**           level: 日志等级
**           fmt: 格式化字符串
**           ...: 可变参数
**出口参数:  无
**函数功能:  输出蓝牙日志（内部使用）
**返 回 值:  无
*********************************************************************/
void ble_log_output(uint8_t mod_id, uint8_t level, const char *fmt, ...);

/********************************************************************
**函数名称:  ble_log_check_enabled
**入口参数:  mod_id: 模块ID, level: 日志等级
**出口参数:  无
**函数功能:  检查指定模块和等级的蓝牙日志是否允许输出
**返 回 值:  true=允许, false=不允许
*********************************************************************/
bool ble_log_check_enabled(uint8_t mod_id, uint8_t level);

/********************************************************************
**函数名称:  ble_log_set_ready
**入口参数:  ready: true=设置就绪, false=清除就绪
**出口参数:  无
**函数功能:  设置蓝牙日志发送就绪状态
**           应在配对鉴权完成后调用，并等待至少1秒
**返 回 值:  无
*********************************************************************/
void ble_log_set_ready(bool ready);

/********************************************************************
**函数名称:  ble_log_is_ready
**入口参数:  无
**出口参数:  无
**函数功能:  检查蓝牙日志发送是否就绪（配对完成+延迟1秒）
**返 回 值:  true=就绪, false=未就绪
*********************************************************************/
bool ble_log_is_ready(void);

/* 蓝牙日志输出宏 - 仅蓝牙 */
#define BLE_LOG_ERR(fmt, ...) \
    ble_log_output(BLE_LOG_MODULE_ID, BLE_LOG_LEVEL_ERR, "E: " fmt, ##__VA_ARGS__)

#define BLE_LOG_WRN(fmt, ...) \
    ble_log_output(BLE_LOG_MODULE_ID, BLE_LOG_LEVEL_WRN, "W: " fmt, ##__VA_ARGS__)

#define BLE_LOG_INF(fmt, ...) \
    ble_log_output(BLE_LOG_MODULE_ID, BLE_LOG_LEVEL_INF, "I: " fmt, ##__VA_ARGS__)

#define BLE_LOG_DBG(fmt, ...) \
    ble_log_output(BLE_LOG_MODULE_ID, BLE_LOG_LEVEL_DBG, "D: " fmt, ##__VA_ARGS__)

/* 同时输出RTT和蓝牙的日志宏 */
#define MY_LOG_ERR(fmt, ...) \
    do { \
        LOG_ERR(fmt, ##__VA_ARGS__); \
        BLE_LOG_ERR(fmt, ##__VA_ARGS__); \
    } while (0)

#define MY_LOG_WRN(fmt, ...) \
    do { \
        LOG_WRN(fmt, ##__VA_ARGS__); \
        BLE_LOG_WRN(fmt, ##__VA_ARGS__); \
    } while (0)

#define MY_LOG_INF(fmt, ...) \
    do { \
        LOG_INF(fmt, ##__VA_ARGS__); \
        BLE_LOG_INF(fmt, ##__VA_ARGS__); \
    } while (0)

#define MY_LOG_DBG(fmt, ...) \
    do { \
        LOG_DBG(fmt, ##__VA_ARGS__); \
        BLE_LOG_DBG(fmt, ##__VA_ARGS__); \
    } while (0)

#endif /* _MY_BLE_LOG_H_ */
```

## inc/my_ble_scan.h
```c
/********************************************************************
**版权所有         深圳市几米物联有限公司
**文件名称:        my_ble_scan.h
**文件描述:        设备扫描模块头文件
**当前版本:        V1.0
**作    者:       周森达 (zhousenda@jimiiot.com)
**完成日期:        2026.04.14
*********************************************************************
** 功能描述:        设备扫描模块接口定义
**                 1. 定义扫描结果/配置/缓存等核心数据结构
**                 2. 定义四种工作模式：关闭/唤醒扫描/周期缓存/周期上报
**                 3. 提供初始化、配置设置、前缀添加等对外接口
**                 4. 提供LTE唤醒时的扫描触发和数据上报接口
**                 5. 提供BLE线程消息处理接口，支持无锁串行处理
*********************************************************************/

#ifndef _MY_BLE_SCAN_H_
#define _MY_BLE_SCAN_H_

/* 宏定义 */
#define TAG_PREFIX_MAX_NUM          10      // 最大支持TAG前缀数量
#define TAG_PREFIX_MAX_LEN          16      // 前缀最大长度
#define ADV_NAME_MAX_LEN            32      // 设备名称最大长度
#define TAG_FF_DATA_MAX_LEN         29      // FF数据固定长度
#define UUID_MAX_LEN                16      // UUID最大存储长度
#define ADV_CACHE_MAX_NUM           10      // ADV数据缓存最大数量
#define TAG_RESULT_MAX_NUM          50      // 最大存储结果数量,后续根据实际情况调整
#define TRAN_MAC_ADV_DATA_MAX_LEN   31      // 蓝牙广播数据最大长度（Legacy ADV）
#define TRAN_MAC_MAX_NUM            20      // 透传MAC地址最大数量

/* 扫描工作模式枚举 */
typedef enum
{
    SCAN_MODE_OFF = 0,          // Mode 0：关闭蓝牙扫描收集功能
    SCAN_MODE_WAKEUP_SCAN,      // Mode 1：仅在4G唤醒时扫描并上传
    SCAN_MODE_PERIOD_CACHE,     // Mode 2：周期扫描收集，仅4G唤醒时上传
    SCAN_MODE_PERIOD_UPLOAD,    // Mode 3：周期扫描收集，定时主动唤醒上传
} scan_mode_t;

/* 扫描状态枚举 */
typedef enum
{
    SCAN_STATE_IDLE = 0,        // 空闲状态
    SCAN_STATE_SCANNING,        // 扫描中
    SCAN_STATE_WAITING_UPLOAD,  // 等待上报
} scan_state_t;

/* TAG设备名称前缀结构 */
typedef struct
{
    char prefix[TAG_PREFIX_MAX_LEN];    // 前缀字符串
    uint8_t len;                        // 前缀长度
    bool valid;                         // 有效标志
} tag_prefix_t;

/* TAG设备名称前缀表 */
typedef struct
{
    tag_prefix_t items[TAG_PREFIX_MAX_NUM];
    uint8_t count;                      // 当前有效前缀数量
} tag_prefix_table_t;

/* TAG设备扫描结果结构 */
typedef struct
{
    bt_addr_le_t addr;                          // 设备MAC地址
    char name[ADV_NAME_MAX_LEN];                // 设备名称
    uint8_t ff_data[TAG_FF_DATA_MAX_LEN];       // FF数据
    uint8_t ff_data_len;                        // FF数据长度
    uint8_t uuid[UUID_MAX_LEN];                 // UUID数据
    uint8_t uuid_len;                           // UUID数据长度
    uint8_t battery_percent;                    // 电量百分比
    int8_t rssi;                                // 信号强度
} tag_scan_result_t;

/* TAG扫描结果表 */
typedef struct
{
    tag_scan_result_t items[TAG_RESULT_MAX_NUM];
    uint8_t count;                       // 当前结果数量
} tag_scan_result_table_t;

/* 扫描模块配置结构 */
typedef struct
{
    scan_mode_t mode;                 // 工作模式
    uint32_t scan_interval;           // 扫描间隔（秒）
    uint32_t scan_length;             // 单次扫描时长（秒）
    uint32_t upload_interval;         // 上报间隔（秒）
    scan_state_t state;               // 当前状态
} scan_config_t;

/* ADV数据缓存项结构 */
typedef struct
{
    bt_addr_le_t addr;
    uint8_t ff_data[TAG_FF_DATA_MAX_LEN];
    uint8_t ff_data_len;
    bool valid;
    uint32_t seq_num;     // 序号，越大表示越新
} adv_cache_item_t;

/* TAG扫描处理消息结构 */
typedef struct
{
    uint8_t adv_type;
    tag_scan_result_t result;
} tag_scan_process_msg_t;

/* 透传MAC扫描结果项 */
typedef struct
{
    bt_addr_le_t addr;
    uint8_t adv_data[TRAN_MAC_ADV_DATA_MAX_LEN];
    uint8_t adv_data_len;
} tran_mac_result_item_t;

/* 透传MAC扫描结果表 */
typedef struct
{
    tran_mac_result_item_t items[TRAN_MAC_MAX_NUM];
    uint8_t count;
} tran_mac_result_table_t;

/* 透传MAC处理消息结构 */
typedef struct
{
    bt_addr_le_t addr;
    uint8_t adv_data[TRAN_MAC_ADV_DATA_MAX_LEN];
    uint8_t adv_data_len;
} tran_mac_process_msg_t;

/********************************************************************
**函数名称:  my_scan_init
**入口参数:  无
**出口参数:  无
**函数功能:  初始化扫描模块，注册扫描回调，初始化前缀表
**返 回 值:  0表示成功，负值表示失败
*********************************************************************/
int my_scan_init(void);

/********************************************************************
**函数名称:  my_scan_set_config
**入口参数:  mode        ---        工作模式（0-3）
**           scan_interval ---      扫描间隔（秒）
**           scan_length ---        单次扫描时长（秒）
**           upload_interval ---    上报间隔（秒）
**出口参数:  无
**函数功能:  设置扫描配置参数
**返 回 值:  无
*********************************************************************/
void my_scan_set_config(uint8_t mode, uint32_t scan_interval,
                           uint32_t scan_length, uint32_t upload_interval);

/********************************************************************
**函数名称:  my_scan_upload_on_lte_wakeup
**入口参数:  无
**出口参数:  无
**函数功能:  LTE唤醒时处理扫描（告警/工作模式切换时调用）
**           Mode 1：启动扫描
**           Mode 2/3：上报扫描数据
**返 回 值:  无
**注意事项:  此函数在LTE已唤醒或正在唤醒时调用，不主动唤醒LTE
*********************************************************************/
void my_scan_upload_on_lte_wakeup(void);

/********************************************************************
**函数名称:  my_tag_prefix_add
**入口参数:  prefix    ---        要添加的前缀字符串
**出口参数:  无
**函数功能:  添加过滤前缀到前缀表
**返 回 值:  0表示成功，负值表示失败
*********************************************************************/
int my_tag_prefix_add(const char *prefix);

/********************************************************************
**函数名称:  my_scan_msg_handler
**入口参数:  msg_ptr           ---        消息结构体指针
**出口参数:  无
**函数功能:  扫描消息处理函数，在BLE线程中调用
**返 回 值:  无
**注意事项:  此函数必须在BLE线程的消息处理循环中调用
*********************************************************************/
void my_scan_msg_handler(msg_t *msg_ptr);

/********************************************************************
**函数名称:  my_tran_mac_check
**入口参数:  addr          ---        待检查的蓝牙地址指针
**出口参数:  无
**函数功能:  检查指定蓝牙地址是否在透传MAC地址列表中
**返 回 值:  true表示匹配成功，false表示不匹配
*********************************************************************/
bool my_tran_mac_check(const bt_addr_le_t *addr);

/********************************************************************
**函数名称:  my_tran_mac_add
**入口参数:  addr          ---        要添加的蓝牙地址指针
**出口参数:  无
**函数功能:  添加透传MAC地址到列表
**返 回 值:  0表示成功，-EEXIST表示已存在,-ENOMEM表示没有空间
*********************************************************************/
int my_tran_mac_add(const bt_addr_le_t *addr);

/********************************************************************
**函数名称:  my_tran_mac_del
**入口参数:  addr          ---        要删除的蓝牙地址指针
**出口参数:  无
**函数功能:  从列表中删除指定透传MAC地址
**返 回 值:  0表示成功，-ENOENT表示未找到
*********************************************************************/
int my_tran_mac_del(const bt_addr_le_t *addr);

/********************************************************************
**函数名称:  my_tran_mac_del_all
**入口参数:  无
**出口参数:  无
**函数功能:  清空所有透传MAC地址
**返 回 值:  无
*********************************************************************/
void my_tran_mac_del_all(void);

/********************************************************************
**函数名称:  clear_tag_macinfo
**入口参数:  无
**出口参数:  无
**函数功能:  重置扫描与上传相关的状态机、序列号，并清空TAG及MAC地址缓存表
**返 回 值:  无
*********************************************************************/
void clear_tag_macinfo(void);

/********************************************************************
**函数名称:  tag_mac_scan_upload_data
**入口参数:  无
**出口参数:  无
**函数功能:  状态机调度函数，负责按（START->DATA->DATA->...->END）分步上传
**             TAG数据和透传MAC地址数据。该函数需配合LTE模块的应答机制
**             多次调用以推进状态流转。
**返 回 值:  无
*********************************************************************/
void tag_mac_scan_upload_data(void);

#endif /* _MY_BLE_SCAN_H_ */
```
